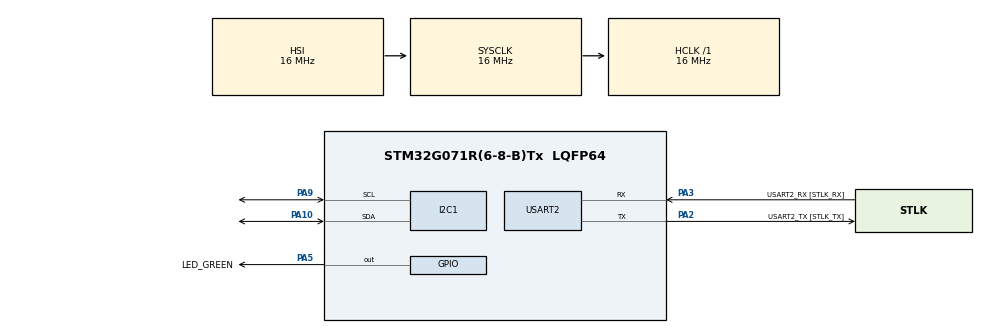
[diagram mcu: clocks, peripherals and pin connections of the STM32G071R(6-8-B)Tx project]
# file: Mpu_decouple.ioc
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Mcu.Family=STM32G0
Mcu.Name=STM32G071R(6-8-B)Tx
Mcu.Package=LQFP64
PA10.Mode=I2C
PA10.Signal=I2C1_SDA
PA13.GPIO_Label=TMS
PA13.Mode=Serial_Wire
PA13.Signal=SYS_SWDIO
PA14-BOOT0.GPIO_Label=TCK
PA14-BOOT0.Mode=Serial_Wire
PA14-BOOT0.Signal=SYS_SWCLK
PA2.GPIO_Label=USART2_TX [STLK_TX]
PA2.GPIO_PuPd=GPIO_PULLUP
PA2.Mode=Asynchronous
PA2.Signal=USART2_TX
PA3.GPIO_Label=USART2_RX [STLK_RX]
PA3.GPIO_PuPd=GPIO_PULLUP
PA3.Mode=Asynchronous
PA3.Signal=USART2_RX
PA5.GPIO_Label=LED_GREEN
PA5.GPIO_Speed=GPIO_SPEED_FREQ_HIGH
PA5.Signal=GPIO_Output
PA9.Mode=I2C
PA9.Signal=I2C1_SCL
PC13.Mode=SYS_WakeUp1
PC13.Signal=SYS_WKUP2
PC14-OSC32_IN\ (PC14).Mode=LSE-External-Oscillator
PC14-OSC32_IN\ (PC14).Signal=RCC_OSC32_IN
PC15-OSC32_OUT\ (PC15).Mode=LSE-External-Oscillator
PC15-OSC32_OUT\ (PC15).Signal=RCC_OSC32_OUT
PF0-OSC_IN\ (PF0).GPIO_Label=MCO
PF0-OSC_IN\ (PF0).Mode=HSE-External-Clock-Source
PF0-OSC_IN\ (PF0).Signal=RCC_OSC_IN
ProjectManager.HeapSize=0x200
ProjectManager.StackSize=0x400
ProjectManager.TargetToolchain=STM32CubeIDE
RCC.AHBFreq_Value=16000000
RCC.CortexFreq_Value=16000000
RCC.EXTERNAL_CLOCK_VALUE=12288000
RCC.HCLKFreq_Value=16000000
RCC.HSE_VALUE=8000000
RCC.HSI_VALUE=16000000
RCC.SYSCLKFreq_VALUE=16000000
RCC.VCOOutputFreq_Value=128000000
USART2.VirtualMode-Asynchronous=VM_ASYNC
VP_SYS_VS_DBSignals.Mode=DisableDeadBatterySignals
board=NUCLEO-G071RB

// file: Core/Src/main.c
/* USER CODE BEGIN Header */
/**
 ******************************************************************************
 * @file           : main.c
 * @brief          : Main program body
 ******************************************************************************
 * @attention
 *
 * Copyright (c) 2022 STMicroelectronics.
 * All rights reserved.
 *
 * This software is licensed under terms that can be found in the LICENSE file
 * in the root directory of this software component.
 * If no LICENSE file comes with this software, it is provided AS-IS.
 *
 ******************************************************************************
 */
/* USER CODE END Header */
#include "main.h"

/* USER CODE BEGIN Includes */
#include "mpu6050.h"
/* USER CODE END Includes */

I2C_HandleTypeDef hi2c1;

UART_HandleTypeDef huart2;

/* USER CODE BEGIN PV */
int16_t x_raw = 0;
int16_t y_raw = 0;
int16_t z_raw = 0;
int16_t x_offset = 0;
int16_t y_offset = 0;
int16_t z_offset = 0;
float x_calc = 0;
float y_calc = 0;
float z_calc = 0;
/* USER CODE END PV */

void SystemClock_Config(void);
static void MX_GPIO_Init(void);
static void MX_USART2_UART_Init(void);
static void MX_I2C1_Init(void);
/* USER CODE BEGIN PFP */
MpuStatus mpu_write(uint16_t deviceAddress, uint8_t regAddress,
		const uint8_t *value);
MpuStatus mpu_read(uint16_t deviceAddress, uint8_t regAddress,
		uint8_t *destination, uint16_t size);
/* USER CODE END PFP */

int main(void) {

	/* MCU Configuration--------------------------------------------------------*/

	/* Reset of all peripherals, Initializes the Flash interface and the Systick. */
	HAL_Init();

	/* USER CODE BEGIN Init */
	const mpu_interface mpu1_interface = { .MpuWriteCallback = mpu_write,
			.MpuReadCallback = mpu_read };

	MpuType mpu1 = { .interface = mpu1_interface, .address = MPU6050_ADDRESS_2,
			.samplerateDiv = 0x0, .gyroFullScaleRange = MPU_ACCEL_2G_FSR };
	/* USER CODE END Init */

	/* Configure the system clock */
	SystemClock_Config();

	/* Initialize all configured peripherals */
	MX_GPIO_Init();
	MX_USART2_UART_Init();
	MX_I2C1_Init();
	/* USER CODE BEGIN 2 */
	MpuInitialize(&mpu1);
	HAL_Delay(100);
	x_offset = MpuReadAccelXRaw(&mpu1);
	y_offset = MpuReadAccelYRaw(&mpu1);
	z_offset = MpuReadAccelZRaw(&mpu1);
	/*--[ Scanning Done ]--*/
	/* USER CODE END 2 */

	/* Infinite loop */
	/* USER CODE BEGIN WHILE */
	while (1) {
		x_raw = MpuReadAccelXRaw(&mpu1) - x_offset;
		y_raw = MpuReadAccelYRaw(&mpu1) - y_offset;
		z_raw = MpuReadAccelZRaw(&mpu1) - z_offset;
		x_calc = MpuConvertAccel(&mpu1, x_raw);
		y_calc = MpuConvertAccel(&mpu1, y_raw);
		z_calc = MpuConvertAccel(&mpu1, z_raw);
		/* USER CODE END WHILE */

	}
}

void SystemClock_Config(void) {
	RCC_OscInitTypeDef RCC_OscInitStruct = { 0 };
	RCC_ClkInitTypeDef RCC_ClkInitStruct = { 0 };

	/** Configure the main internal regulator output voltage
	 */
	HAL_PWREx_ControlVoltageScaling(PWR_REGULATOR_VOLTAGE_SCALE1);
	/** Initializes the RCC Oscillators according to the specified parameters
	 * in the RCC_OscInitTypeDef structure.
	 */
	RCC_OscInitStruct.OscillatorType = RCC_OSCILLATORTYPE_HSI;
	RCC_OscInitStruct.HSIState = RCC_HSI_ON;
	RCC_OscInitStruct.HSIDiv = RCC_HSI_DIV1;
	RCC_OscInitStruct.HSICalibrationValue = RCC_HSICALIBRATION_DEFAULT;
	RCC_OscInitStruct.PLL.PLLState = RCC_PLL_NONE;
	if (HAL_RCC_OscConfig(&RCC_OscInitStruct) != HAL_OK) {
		Error_Handler();
	}
	/** Initializes the CPU, AHB and APB buses clocks
	 */
	RCC_ClkInitStruct.ClockType = RCC_CLOCKTYPE_HCLK | RCC_CLOCKTYPE_SYSCLK
			| RCC_CLOCKTYPE_PCLK1;
	RCC_ClkInitStruct.SYSCLKSource = RCC_SYSCLKSOURCE_HSI;
	RCC_ClkInitStruct.AHBCLKDivider = RCC_SYSCLK_DIV1;
	RCC_ClkInitStruct.APB1CLKDivider = RCC_HCLK_DIV1;

	if (HAL_RCC_ClockConfig(&RCC_ClkInitStruct, FLASH_LATENCY_0) != HAL_OK) {
		Error_Handler();
	}
}

static void MX_I2C1_Init(void) {

	hi2c1.Instance = I2C1;
	hi2c1.Init.Timing = 0x00303D5B;
	hi2c1.Init.OwnAddress1 = 0;
	hi2c1.Init.AddressingMode = I2C_ADDRESSINGMODE_7BIT;
	hi2c1.Init.DualAddressMode = I2C_DUALADDRESS_DISABLE;
	hi2c1.Init.OwnAddress2 = 0;
	hi2c1.Init.OwnAddress2Masks = I2C_OA2_NOMASK;
	hi2c1.Init.GeneralCallMode = I2C_GENERALCALL_DISABLE;
	hi2c1.Init.NoStretchMode = I2C_NOSTRETCH_DISABLE;
	if (HAL_I2C_Init(&hi2c1) != HAL_OK) {
		Error_Handler();
	}
	/** Configure Analogue filter
	 */
	if (HAL_I2CEx_ConfigAnalogFilter(&hi2c1, I2C_ANALOGFILTER_ENABLE)
			!= HAL_OK) {
		Error_Handler();
	}
	/** Configure Digital filter
	 */
	if (HAL_I2CEx_ConfigDigitalFilter(&hi2c1, 0) != HAL_OK) {
		Error_Handler();
	}

}

static void MX_USART2_UART_Init(void) {

	huart2.Instance = USART2;
	huart2.Init.BaudRate = 115200;
	huart2.Init.WordLength = UART_WORDLENGTH_8B;
	huart2.Init.StopBits = UART_STOPBITS_1;
	huart2.Init.Parity = UART_PARITY_NONE;
	huart2.Init.Mode = UART_MODE_TX_RX;
	huart2.Init.HwFlowCtl = UART_HWCONTROL_NONE;
	huart2.Init.OverSampling = UART_OVERSAMPLING_16;
	huart2.Init.OneBitSampling = UART_ONE_BIT_SAMPLE_DISABLE;
	huart2.Init.ClockPrescaler = UART_PRESCALER_DIV1;
	huart2.AdvancedInit.AdvFeatureInit = UART_ADVFEATURE_NO_INIT;
	if (HAL_UART_Init(&huart2) != HAL_OK) {
		Error_Handler();
	}
	if (HAL_UARTEx_SetTxFifoThreshold(&huart2, UART_TXFIFO_THRESHOLD_1_8)
			!= HAL_OK) {
		Error_Handler();
	}
	if (HAL_UARTEx_SetRxFifoThreshold(&huart2, UART_RXFIFO_THRESHOLD_1_8)
			!= HAL_OK) {
		Error_Handler();
	}
	if (HAL_UARTEx_DisableFifoMode(&huart2) != HAL_OK) {
		Error_Handler();
	}

}

static void MX_GPIO_Init(void) {
	GPIO_InitTypeDef GPIO_InitStruct = { 0 };

	/* GPIO Ports Clock Enable */
	__HAL_RCC_GPIOC_CLK_ENABLE();
	__HAL_RCC_GPIOF_CLK_ENABLE();
	__HAL_RCC_GPIOA_CLK_ENABLE();

	/*Configure GPIO pin Output Level */
	HAL_GPIO_WritePin(LED_GREEN_GPIO_Port, LED_GREEN_Pin, GPIO_PIN_RESET);

	/*Configure GPIO pin : LED_GREEN_Pin */
	GPIO_InitStruct.Pin = LED_GREEN_Pin;
	GPIO_InitStruct.Mode = GPIO_MODE_OUTPUT_PP;
	GPIO_InitStruct.Pull = GPIO_NOPULL;
	GPIO_InitStruct.Speed = GPIO_SPEED_FREQ_HIGH;
	HAL_GPIO_Init(LED_GREEN_GPIO_Port, &GPIO_InitStruct);

}

/* USER CODE BEGIN 4 */
MpuStatus mpu_write(uint16_t deviceAddress, uint8_t regAddress,
		const uint8_t *value) {
	HAL_StatusTypeDef status = HAL_ERROR;

#pragma GCC diagnostic push
#pragma GCC diagnostic ignored "-Wdiscarded-qualifiers"
	status = HAL_I2C_Mem_Write(&hi2c1, deviceAddress, regAddress, 1, value, 1,
			1000);
#pragma GCC diagnostic pop

	if (status == HAL_OK) {
		return mpuOk;
	} else {
		return mpuWriteError;
	}
}

MpuStatus mpu_read(uint16_t deviceAddress, uint8_t regAddress,
		uint8_t *destination, uint16_t size) {
	HAL_StatusTypeDef status = HAL_ERROR;
	status = HAL_I2C_Mem_Read(&hi2c1, deviceAddress, regAddress, 1, destination,
			size, 1000);
	if (status == HAL_OK) {
		return mpuOk;
	} else {
		return mpuReadError;
	}
}

/* USER CODE END 4 */

void Error_Handler(void) {
	__disable_irq();
	while (1) {
	}
}
